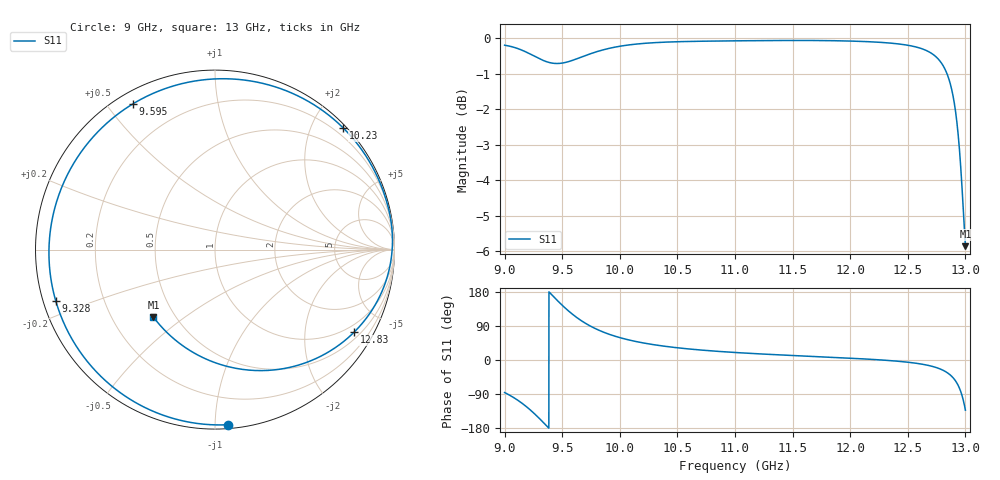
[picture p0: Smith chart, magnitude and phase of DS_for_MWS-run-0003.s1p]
! TOUCHSTONE file generated by CST DESIGN STUDIO
! Date and time: Tue Feb  4 17:22:47 2025
! Project name: C:\Work\MatlabApps\UnitCellOptimizationMatlab\CST\unitcell.cst
! Tree item: Tasks\Sweep1\SPara1\S-Parameters
! Header version: 2024
! Port assignment regex: !\s*Touchstone port\s*([0-9]+)\s*=\s*(CST MWS port|CST DES external port|CST DES block port)\s*(.+)\s* \(\"(.*)\"\)(\s*mode\s*([0-9]+))?.*
! Touchstone port assignment:
! Touchstone port 1 = CST DES external port 1 ("")
# GHz S MA R 50
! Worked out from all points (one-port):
!   4001 points, 9 GHz to 13 GHz, reference 50 ohm
!   lowest |S11| = -5.9 dB at 13 GHz (marker M1), VSWR 3.07, Z = 19 - j19.3 ohm
!   |S11| at or under -10 dB: nowhere
!   S11 on the Smith chart (normalised r, x): 9 GHz: 0.02, -1.07; 9.328 GHz: 0.04, -0.16; 9.595 GHz: 0.05, +0.58; 10.23 GHz: 0.06, +2.51; 12.83 GHz: 0.72, -3.51; 13 GHz: 0.38, -0.39
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9  0.9783 -85.9
9.094  0.9701 -102.1
9.174  0.9589 -119.5
9.248  0.9459 -138.6
9.328  0.9321 -162.3
9.37  0.9265 -175.4
9.411  0.9231 171.6
9.5  0.9231 144.5
9.547  0.9266 131.4
9.595  0.9319 119.3
9.667  0.9413 103.5
9.75  0.9521 88.6
9.869  0.9649 72.2
10  0.9749 59.1
10.232  0.9847 43.5
10.5  0.9894 32.2
11  0.9923 19.8
11.5  0.9935 11.9
12  0.9915 4.8
12.5  0.9781 -5.9
12.709  0.952 -16.5
12.828  0.9013 -30.7
12.891  0.8325 -46.1
12.917  0.7833 -56.3
12.941  0.7205 -69.4
12.967  0.6303 -89.9
12.986  0.5562 -111.5
13  0.5091 -132.4
